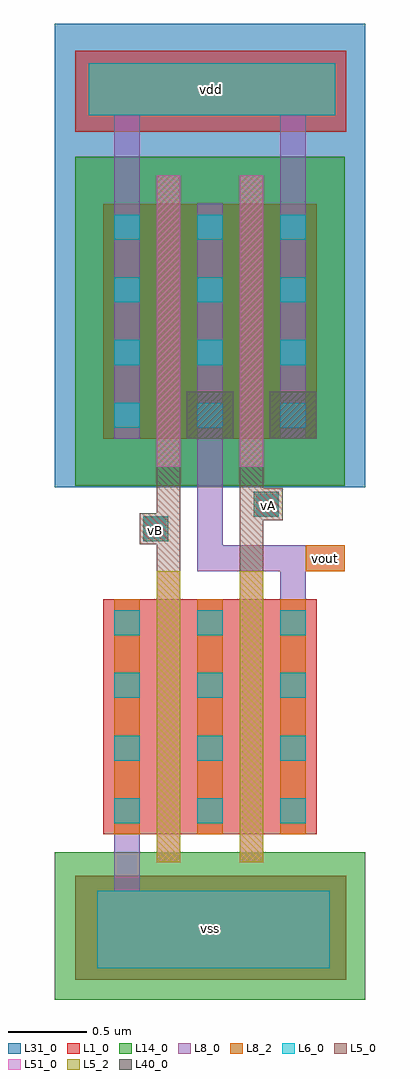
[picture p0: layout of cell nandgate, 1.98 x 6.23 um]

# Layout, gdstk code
import gdstk
lib = gdstk.Library(unit=1e-6, precision=5e-09)
def R(c, l, rs):  # rectangles x0, y0, x1, y1
    for r in rs: c.add(gdstk.rectangle(r[:2], r[2:], *l))
def A(c, l, x, y, w, h, nx, ny, dx, dy):  # array of equal rectangles
    R(c, l, [(x+i*dx, y+j*dy, x+i*dx+w, y+j*dy+h) for i in range(nx) for j in range(ny)])
def P(c, l, *ps):  # polygons
    for p in ps: c.add(gdstk.Polygon(p, *l))
L1_0 = (1, 0)
L5_0 = (5, 0)
L5_2 = (5, 2)
L6_0 = (6, 0)
L8_0 = (8, 0)
L8_2 = (8, 2)
L14_0 = (14, 0)
L31_0 = (31, 0)
L40_0 = (40, 0)
L51_0 = (51, 0)

nmos = lib.new_cell('nmos')
R(nmos, L1_0, [(0,0,0.3,0.3), (0,0,0.83,1.5), (0.53,0,0.83,0.3)])
R(nmos, L5_0, [(0.34,-0.18,0.49,1.68)])
R(nmos, L5_2, [(0.34,-0.18,0.49,1.68)])
A(nmos, L6_0, 0.07, 0.07, 0.16, 0.16, 1, 4, 0, 0.4)
A(nmos, L6_0, 0.6, 0.07, 0.16, 0.16, 1, 4, 0, 0.4)
R(nmos, L8_0, [(0.07,0,0.23,1.5), (0.6,0,0.76,1.5)])
R(nmos, L8_2, [(0.07,0,0.23,1.5), (0.6,0,0.76,1.5)])
R(nmos, L51_0, [(0.34,-0.18,0.49,1.68)])
nmos.add(gdstk.Label('nmos', (0.415,0.75), layer=63, texttype=0))
nmos.add(gdstk.Label('nmos', (0.415,0.75), layer=51, texttype=0))

pmos = lib.new_cell('pmos')
R(pmos, L1_0, [(0,0,0.3,0.3), (0,0,0.83,1.5), (0.53,0,0.83,0.3)])
R(pmos, L5_0, [(0.34,-0.18,0.49,1.68), (0.34,-0.18,0.49,1.68)])
A(pmos, L6_0, 0.07, 0.07, 0.16, 0.16, 1, 4, 0, 0.4)
A(pmos, L6_0, 0.6, 0.07, 0.16, 0.16, 1, 4, 0, 0.4)
R(pmos, L8_0, [(0.07,0,0.23,1.5), (0.07,0,0.23,1.5), (0.6,0,0.76,1.5), (0.6,0,0.76,1.5)])
R(pmos, L14_0, [(-0.18,-0.3,1.01,1.8)])
R(pmos, L31_0, [(-0.31,-0.31,1.14,1.81)])
R(pmos, L40_0, [(0.53,0,0.83,0.3)])
R(pmos, L51_0, [(0.34,-0.18,0.49,1.68)])
pmos.add(gdstk.Label('pmos', (0.415,0.75), layer=63, texttype=0))
pmos.add(gdstk.Label('pmos', (0.415,0.75), layer=51, texttype=0))

nandgate = lib.new_cell('nandgate')
R(nandgate, L1_0, [(-0.55,-2.75,1.18,-2.085), (-0.55,2.665,1.18,3.18)])
P(nandgate, L5_0, [(0.5,-0.14),(0.5,0.525),(0.65,0.525),(0.65,0.39),(0.775,0.39),(0.775,0.185),(0.65,0.185),(0.65,-0.14)],
  [(-0.03,-0.145),(-0.03,0.03),(-0.14,0.03),(-0.14,0.23),(-0.03,0.23),(-0.03,0.525),(0.12,0.525),(0.12,-0.145)])
R(nandgate, L6_0, [(-0.41,-2.675,1.075,-2.18), (-0.115,0.05,0.045,0.21), (0.59,0.205,0.75,0.365), (-0.465,2.77,1.11,3.1)])
R(nandgate, L8_0, [(-0.115,0.05,0.045,0.21), (0.59,0.205,0.75,0.365)])
P(nandgate, L8_0, [(-0.41,-2.675),(-0.41,-2.18),(-0.3,-2.18),(-0.3,-1.82),(-0.14,-1.82),(-0.14,-2.18),(1.075,-2.18),(1.075,-2.675)],
  [(-0.3,2.205),(-0.3,2.77),(-0.465,2.77),(-0.465,3.1),(1.11,3.1),(1.11,2.77),(0.92,2.77),(0.92,2.205),(0.76,2.205),(0.76,2.77),(-0.14,2.77),(-0.14,2.205)],
  [(0.76,-0.32),(0.76,-0.14),(0.23,-0.14),(0.23,0.705),(0.39,0.705),(0.39,0.025),(1.17,0.025),(1.17,-0.14),(0.92,-0.14),(0.92,-0.32)])
R(nandgate, L8_2, [(-0.41,-2.675,1.075,-2.18), (0.92,-0.14,1.17,0.025), (-0.115,0.05,0.045,0.21), (0.59,0.205,0.75,0.365), (-0.465,2.77,1.11,3.1)])
R(nandgate, L14_0, [(-0.68,-2.875,1.3,-1.935)])
R(nandgate, L31_0, [(-0.68,2.515,1.3,3.355)])
nandgate.add(gdstk.Reference(nmos, (-0.37,-1.82)))
nandgate.add(gdstk.Reference(pmos, (-0.37,0.705)))
nandgate.add(gdstk.Reference(pmos, (0.16,0.705)))
nandgate.add(gdstk.Reference(nmos, (0.16,-1.82)))
nandgate.add(gdstk.Label('vB', (-0.04,0.12), layer=8, texttype=2))
nandgate.add(gdstk.Label('vA', (0.685,0.28), layer=8, texttype=2))
nandgate.add(gdstk.Label('vout', (1.045,-0.06), layer=8, texttype=2))
nandgate.add(gdstk.Label('vdd', (0.32,2.935), layer=8, texttype=2))
nandgate.add(gdstk.Label('vss', (0.315,-2.42), layer=8, texttype=2))

lib.write_gds('nandgate.gds')
